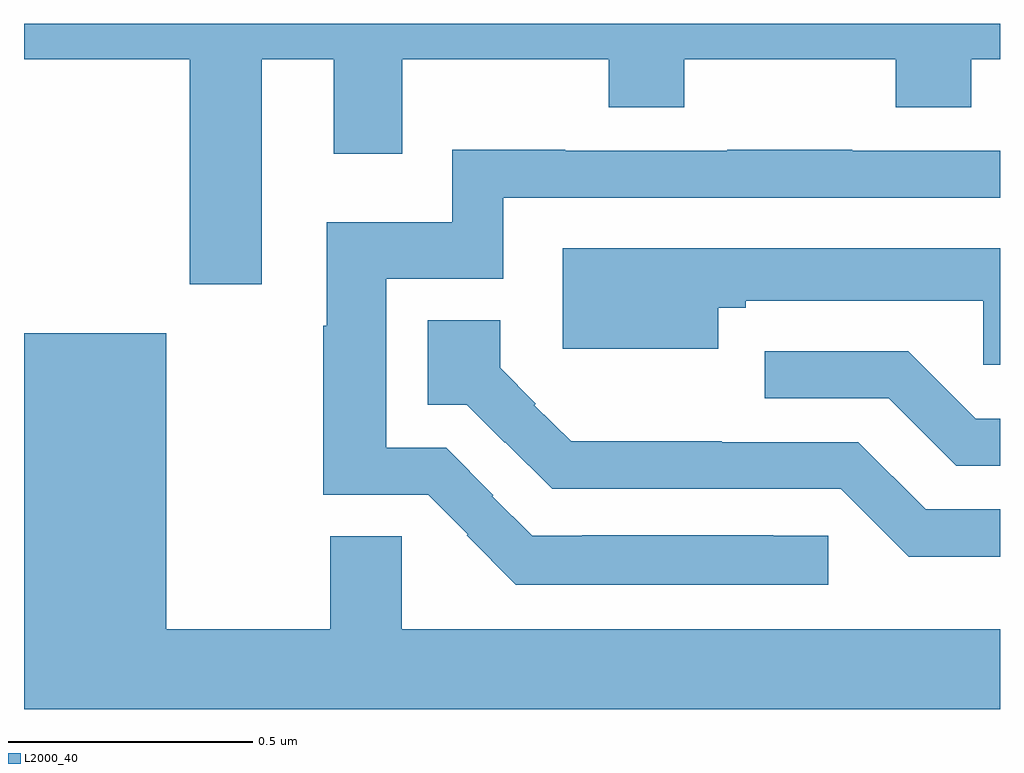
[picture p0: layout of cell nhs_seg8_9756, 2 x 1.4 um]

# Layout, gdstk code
import gdstk
lib = gdstk.Library(unit=1e-6, precision=1e-09)
def P(c, l, *ps):  # polygons
    for p in ps: c.add(gdstk.Polygon(p, *l))
L2000_40 = (2000, 40)

nhs_seg8_9756 = lib.new_cell('nhs_seg8_9756')
P(nhs_seg8_9756, L2000_40, [(240.487,1121.828),(240.635,1121.828),(240.635,1121.634),(240.775,1121.634),(240.775,1121.828),(241.198,1121.828),(241.198,1121.729),(241.353,1121.729),(241.353,1121.828),(241.786,1121.828),(241.786,1121.729),(241.941,1121.729),(241.941,1121.828),(242,1121.828),(242,1121.9),(240,1121.9),(240,1121.828),(240.34,1121.828),(240.34,1121.367),(240.487,1121.367)],
  [(241.648,1120.851),(241.535,1120.851),(241.535,1120.852),(241.144,1120.852),(241.144,1120.851),(241.041,1120.851),(240.96,1120.932),(240.962,1120.934),(240.865,1121.031),(240.742,1121.031),(240.742,1121.378),(240.982,1121.378),(240.982,1121.544),(242,1121.544),(242,1121.64),(241.697,1121.64),(241.697,1121.642),(241.441,1121.642),(241.441,1121.64),(241.109,1121.64),(241.109,1121.642),(240.878,1121.642),(240.878,1121.494),(240.62,1121.494),(240.62,1121.282),(240.613,1121.282),(240.613,1120.935),(240.828,1120.935),(240.909,1120.854),(240.907,1120.852),(241.008,1120.751),(241.648,1120.751)],
  [(242,1121.44),(241.104,1121.44),(241.104,1121.234),(241.423,1121.234),(241.423,1121.318),(241.479,1121.318),(241.479,1121.333),(241.966,1121.333),(241.966,1121.202),(242,1121.202)],
  [(242,1120.905),(241.848,1120.905),(241.71,1121.043),(241.43,1121.043),(241.43,1121.045),(241.121,1121.045),(241.046,1121.119),(241.049,1121.122),(240.976,1121.195),(240.976,1121.293),(240.827,1121.293),(240.827,1121.12),(240.907,1121.12),(240.985,1121.042),(240.986,1121.043),(241.082,1120.947),(241.674,1120.947),(241.813,1120.808),(242,1120.808)],
  [(242,1120.66),(240.774,1120.66),(240.774,1120.85),(240.628,1120.85),(240.628,1120.66),(240.292,1120.66),(240.292,1121.266),(240,1121.266),(240,1120.496),(242,1120.496)],
  [(242,1121.091),(241.95,1121.091),(241.812,1121.229),(241.518,1121.229),(241.518,1121.133),(241.772,1121.133),(241.91,1120.995),(242,1120.995)])

lib.write_gds('nhs_seg8_9756.gds')
